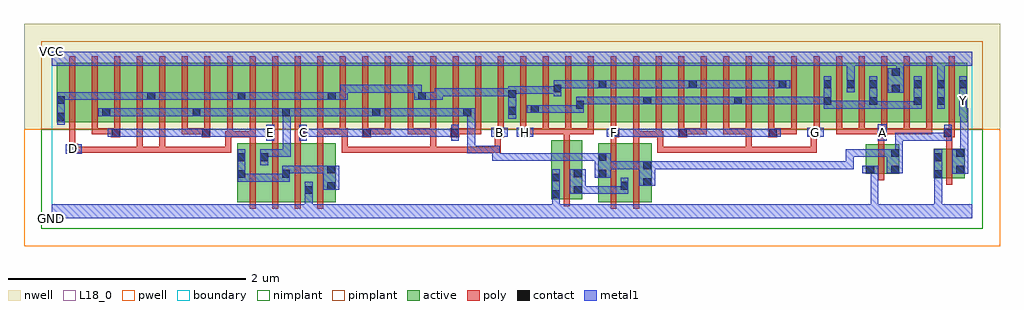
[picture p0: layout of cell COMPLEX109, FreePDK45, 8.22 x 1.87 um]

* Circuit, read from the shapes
.subckt COMPLEX109 A B C D E F G GND H VCC Y
M1 n1 D n2 VSUBS nfet w=0.5u l=0.05u
M2 n2 E n1 VSUBS nfet w=0.5u l=0.05u
M3 GND C n2 VSUBS nfet w=0.5u l=0.05u
M4 n2 B GND VSUBS nfet w=0.5u l=0.05u
M5 n3 H GND VSUBS nfet w=0.5u l=0.05u
M6 n3 F n1 VSUBS nfet w=0.5u l=0.05u
M7 n1 G n3 VSUBS nfet w=0.5u l=0.05u
M8 n1 A GND VSUBS nfet w=0.25u l=0.05u
M9 Y n1 GND VSUBS nfet w=0.25u l=0.05u
M10 n4 D n5 n6 pfet w=0.5u l=0.05u
M11 n1 E n4 n6 pfet w=0.5u l=0.05u
M12 n7 E n1 n6 pfet w=0.5u l=0.05u
M13 n5 D n7 n6 pfet w=0.5u l=0.05u
M14 n8 D n5 n6 pfet w=0.5u l=0.05u
M15 n1 E n8 n6 pfet w=0.5u l=0.05u
M16 n9 E n1 n6 pfet w=0.5u l=0.05u
M17 n5 D n9 n6 pfet w=0.5u l=0.05u
M18 n10 D n5 n6 pfet w=0.5u l=0.05u
M19 n1 E n10 n6 pfet w=0.5u l=0.05u
M20 n11 C n1 n6 pfet w=0.5u l=0.05u
M21 n5 B n11 n6 pfet w=0.5u l=0.05u
M22 n12 B n5 n6 pfet w=0.5u l=0.05u
M23 n1 C n12 n6 pfet w=0.5u l=0.05u
M24 n13 C n1 n6 pfet w=0.5u l=0.05u
M25 n5 B n13 n6 pfet w=0.5u l=0.05u
M26 n14 B n5 n6 pfet w=0.5u l=0.05u
M27 n1 C n14 n6 pfet w=0.5u l=0.05u
M28 n15 C n1 n6 pfet w=0.5u l=0.05u
M29 n5 B n15 n6 pfet w=0.5u l=0.05u
M30 n16 H n5 n6 pfet w=0.5u l=0.05u m=4
M31 n17 F n5 n6 pfet w=0.5u l=0.05u
M32 n16 G n17 n6 pfet w=0.5u l=0.05u
M33 n18 G n16 n6 pfet w=0.5u l=0.05u
M34 n5 F n18 n6 pfet w=0.5u l=0.05u
M35 n19 F n5 n6 pfet w=0.5u l=0.05u
M36 n16 G n19 n6 pfet w=0.5u l=0.05u
M37 n20 G n16 n6 pfet w=0.5u l=0.05u
M38 n5 F n20 n6 pfet w=0.5u l=0.05u
M39 n21 F n5 n6 pfet w=0.5u l=0.05u
M40 n16 G n21 n6 pfet w=0.5u l=0.05u
M41 VCC A n16 n6 pfet w=0.5u l=0.05u m=5
M42 Y n1 VCC n6 pfet w=0.5u l=0.05u
.ends

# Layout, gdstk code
import gdstk
lib = gdstk.Library(unit=1e-6, precision=1e-09)
def R(c, l, rs):  # rectangles x0, y0, x1, y1
    for r in rs: c.add(gdstk.rectangle(r[:2], r[2:], *l))
def A(c, l, x, y, w, h, nx, ny, dx, dy):  # array of equal rectangles
    R(c, l, [(x+i*dx, y+j*dy, x+i*dx+w, y+j*dy+h) for i in range(nx) for j in range(ny)])
active = (1, 0)
pwell = (2, 0)
nwell = (3, 0)
nimplant = (4, 0)
pimplant = (5, 0)
poly = (9, 0)
contact = (10, 0)
metal1 = (11, 0)
L18_0 = (18, 0)
boundary = (235, 0)

complex109 = lib.new_cell('COMPLEX109')
A(complex109, active, 0.04, 0.807, 0.225, 0.5, 5, 1, 0.38, 0)
A(complex109, active, 0.265, 0.807, 0.23, 0.5, 4, 1, 0.38, 0)
A(complex109, active, 0.8, 0.807, 0.075, 0.393, 5, 1, 0.76, 0)
A(complex109, active, 2.925, 0.807, 0.23, 0.5, 3, 1, 0.38, 0)
A(complex109, active, 3.84, 0.807, 0.265, 0.5, 4, 1, 0.19, 0)
A(complex109, active, 6.69, 0.807, 0.075, 0.5, 3, 1, 0.38, 0)
R(complex109, active, [(1.56,0.132,1.825,0.632), (1.75,0.132,2.01,0.632), (1.935,0.132,2.2,0.632), (2.125,0.132,2.39,0.632), (4.6,0.132,4.86,0.632), (4.785,0.132,5.05,0.632), (2.125,0.157,2.2,0.592), (4.207,0.157,4.467,0.657), (4.207,0.157,4.282,0.657), (1.56,0.195,1.635,0.632), (1.75,0.195,1.825,0.592), (1.935,0.195,2.01,0.592), (2.315,0.195,2.39,0.632), (4.392,0.195,4.467,0.657), (4.6,0.195,4.675,0.632), (4.785,0.195,4.86,0.592), (4.975,0.195,5.05,0.632), (7.427,0.335,7.687,0.585), (7.427,0.335,7.502,0.585), (7.612,0.37,7.687,0.585), (6.855,0.372,6.93,0.622), (6.855,0.372,7.137,0.622), (7.062,0.372,7.137,0.622), (0.04,0.807,0.145,1.2), (0.42,0.807,0.495,1.07), (1.18,0.807,1.255,1.07), (1.785,0.807,2.01,1.307), (1.935,0.807,2.165,1.307), (1.935,0.807,2.01,1.07), (2.165,0.807,2.395,1.307), (2.32,0.807,2.545,1.307), (2.545,0.807,2.77,1.307), (2.695,0.807,2.925,1.307), (2.695,0.807,2.77,1.07), (3.08,0.807,3.305,1.307), (3.46,0.807,3.685,1.307), (3.46,0.807,3.535,1.07), (4.03,0.807,4.105,1.07), (4.22,0.807,4.295,1.2), (4.41,0.807,4.485,1.07), (4.6,0.807,4.675,1.2), (4.6,0.807,4.825,1.307), (4.825,0.807,5.052,1.307), (4.977,0.807,5.052,1.07), (4.977,0.807,5.205,1.307), (5.205,0.807,5.435,1.307), (5.36,0.807,5.435,1.2), (5.36,0.807,5.585,1.307), (5.585,0.807,5.815,1.307), (5.74,0.807,5.965,1.307), (5.74,0.807,5.815,1.07), (5.965,0.807,6.19,1.307), (6.115,0.807,6.19,1.2), (6.115,0.807,6.345,1.307), (6.345,0.807,6.57,1.307), (6.495,0.807,6.57,1.2), (6.495,0.807,6.765,1.307), (6.69,0.807,6.955,1.307), (6.88,0.807,7.145,1.307), (6.88,0.807,6.955,1.2), (7.07,0.807,7.33,1.307), (7.255,0.807,7.33,1.2), (7.255,0.807,7.525,1.307), (7.45,0.807,7.71,1.307), (7.635,0.807,7.71,1.2)])
R(complex109, pwell, [(-0.235,-0.235,7.985,0.75)])
R(complex109, nwell, [(-0.235,0.75,7.985,1.635)])
R(complex109, nimplant, [(-0.09,-0.09,7.84,0.75)])
R(complex109, pimplant, [(-0.09,0.75,7.84,1.49)])
A(complex109, poly, 1.665, 0.077, 0.05, 0.61, 4, 1, 0.19, 0)
A(complex109, poly, 1.665, 0.637, 0.05, 0.095, 3, 1, 0.19, 0)
A(complex109, poly, 1.855, 0.707, 0.05, 0.095, 16, 1, 0.19, 0)
A(complex109, poly, 2.64, 0.707, 0.215, 0.05, 3, 1, 1.33, 0)
A(complex109, poly, 5.275, 0.707, 0.05, 0.095, 13, 1, 0.19, 0)
A(complex109, poly, 0.145, 0.752, 0.05, 0.61, 40, 1, 0.19, 0)
R(complex109, poly, [(4.705,0.077,4.755,0.687), (4.895,0.077,4.945,0.687), (4.312,0.102,4.362,0.712), (7.532,0.28,7.582,0.64), (6.96,0.317,7.01,0.677), (0.145,0.55,0.222,0.625), (0.172,0.55,0.222,0.6), (0.172,0.55,0.222,0.6), (0.172,0.55,0.222,0.6), (0.172,0.55,0.222,0.6), (0.172,0.55,0.355,0.6), (0.305,0.55,0.355,0.6), (0.305,0.55,0.355,0.6), (0.305,0.55,0.355,0.6), (0.305,0.55,0.517,0.6), (0.467,0.55,0.517,0.6), (0.467,0.55,0.517,0.6), (0.467,0.55,0.517,0.6), (0.467,0.55,0.765,0.6), (0.715,0.55,0.765,0.6), (0.715,0.55,0.765,0.6), (0.715,0.55,0.765,0.6), (0.715,0.55,0.765,0.6), (0.715,0.55,0.765,0.6), (0.715,0.55,0.765,0.6), (0.715,0.55,0.765,0.6), (0.715,0.55,0.955,0.6), (0.715,0.55,0.765,0.802), (0.905,0.55,0.955,0.6), (0.905,0.55,0.955,0.6), (0.905,0.55,0.955,0.6), (0.905,0.55,0.955,0.6), (0.905,0.55,0.955,0.6), (0.905,0.55,0.955,0.6), (0.905,0.55,0.955,0.6), (0.905,0.55,1.177,0.6), (0.905,0.55,0.955,0.802), (1.127,0.55,1.177,0.6), (1.127,0.55,1.177,0.6), (1.127,0.55,1.177,0.6), (1.127,0.55,1.377,0.6), (1.327,0.55,1.377,0.6), (1.327,0.55,1.377,0.6), (1.327,0.55,1.377,0.6), (1.327,0.55,1.51,0.6), (1.46,0.55,1.51,0.6), (1.46,0.55,1.51,0.6), (1.46,0.55,1.51,0.6), (1.46,0.55,1.51,0.6), (1.46,0.55,1.51,0.6), (1.46,0.55,1.51,0.732), (2.44,0.55,2.49,0.6), (2.44,0.55,2.49,0.6), (2.44,0.55,2.49,0.6), (2.44,0.55,2.49,0.757), (2.44,0.55,2.722,0.6), (2.672,0.55,2.722,0.6), (2.672,0.55,2.855,0.6), (2.805,0.55,2.855,0.6), (2.805,0.55,2.855,0.6), (2.805,0.55,2.855,0.6), (2.805,0.55,2.987,0.6), (2.937,0.55,2.987,0.6), (2.937,0.55,2.987,0.6), (2.937,0.55,2.987,0.6), (2.937,0.55,3.167,0.6), (3.117,0.55,3.167,0.6), (3.117,0.55,3.235,0.6), (3.185,0.55,3.235,0.6), (3.185,0.55,3.235,0.757), (3.185,0.55,3.3,0.6), (3.25,0.55,3.3,0.6), (3.25,0.55,3.482,0.6), (3.432,0.55,3.482,0.6), (3.432,0.55,3.482,0.6), (3.432,0.55,3.482,0.6), (3.432,0.55,3.615,0.6), (3.565,0.55,3.615,0.6), (3.565,0.55,3.78,0.6), (3.73,0.55,3.78,0.6), (3.73,0.55,3.78,0.6), (3.73,0.55,3.78,0.6), (3.73,0.55,3.78,0.6), (3.73,0.55,3.78,0.6), (3.73,0.55,3.78,0.732), (5.1,0.55,5.15,0.6), (5.1,0.55,5.15,0.6), (5.1,0.55,5.15,0.6), (5.1,0.55,5.15,0.732), (5.1,0.55,5.382,0.6), (5.332,0.55,5.382,0.6), (5.332,0.55,5.382,0.6), (5.332,0.55,5.382,0.6), (5.332,0.55,5.572,0.6), (5.522,0.55,5.572,0.6), (5.522,0.55,5.572,0.6), (5.522,0.55,5.572,0.6), (5.522,0.55,5.762,0.6), (5.712,0.55,5.762,0.6), (5.712,0.55,5.895,0.6), (5.845,0.55,5.895,0.6), (5.845,0.55,5.895,0.6), (5.845,0.55,5.895,0.6), (5.845,0.55,6.142,0.6), (5.845,0.55,5.895,0.757), (6.092,0.55,6.142,0.6), (6.092,0.55,6.142,0.6), (6.092,0.55,6.142,0.6), (6.092,0.55,6.275,0.6), (6.225,0.55,6.275,0.6), (6.225,0.55,6.275,0.6), (6.225,0.55,6.275,0.6), (6.225,0.55,6.44,0.6), (6.39,0.55,6.44,0.6), (6.39,0.55,6.44,0.6), (6.39,0.55,6.44,0.6), (6.39,0.55,6.44,0.6), (6.39,0.55,6.44,0.6), (6.39,0.55,6.44,0.732), (0.145,0.575,0.195,0.802), (7.532,0.59,7.582,0.732), (6.96,0.627,7.01,0.732), (2.235,0.637,2.285,0.757), (4.705,0.637,4.755,0.732), (4.895,0.637,4.945,0.732), (4.312,0.662,4.362,0.757), (0.5,0.682,0.575,0.757), (1.26,0.682,1.335,0.757), (1.46,0.682,1.525,0.732), (1.475,0.682,1.715,0.732), (1.475,0.682,1.525,0.802), (1.665,0.682,1.715,0.732), (1.665,0.682,1.715,0.732), (1.665,0.682,1.715,0.732), (1.665,0.682,1.715,0.802), (1.802,0.682,1.905,0.757), (2.045,0.682,2.152,0.757), (2.615,0.682,2.69,0.757), (3.357,0.682,3.432,0.757), (3.73,0.682,3.805,0.757), (3.945,0.682,4.02,0.757), (4.702,0.682,4.777,0.757), (4.895,0.682,4.945,0.732), (4.895,0.682,4.945,0.732), (4.895,0.682,4.945,0.732), (4.895,0.682,5.135,0.732), (4.895,0.682,4.945,0.802), (5.085,0.682,5.135,0.732), (5.085,0.682,5.135,0.732), (5.085,0.682,5.135,0.802), (5.085,0.682,5.15,0.732), (5.275,0.682,5.35,0.757), (6.035,0.682,6.11,0.757), (6.39,0.682,6.465,0.757), (6.96,0.682,7.035,0.757), (7.51,0.682,7.605,0.757), (0.335,0.707,0.385,0.802), (0.335,0.707,0.385,0.757), (0.335,0.707,0.55,0.757), (0.5,0.707,0.55,0.757), (0.5,0.707,0.55,0.757), (0.525,0.707,0.575,0.802), (1.095,0.707,1.145,0.802), (1.095,0.707,1.145,0.757), (1.095,0.707,1.31,0.757), (1.26,0.707,1.31,0.757), (1.26,0.707,1.31,0.757), (1.285,0.707,1.335,0.802), (2.235,0.707,2.285,0.757), (2.235,0.707,2.285,0.757), (2.235,0.707,2.285,0.757), (2.235,0.707,2.475,0.757), (2.425,0.707,2.475,0.757), (2.425,0.707,2.475,0.757), (2.425,0.707,2.49,0.757), (2.805,0.707,2.855,0.757), (2.805,0.707,2.855,0.757), (2.805,0.707,2.855,0.757), (2.995,0.707,3.045,0.757), (2.995,0.707,3.167,0.757), (3.117,0.707,3.167,0.757), (3.117,0.707,3.235,0.757), (3.185,0.707,3.235,0.757), (3.185,0.707,3.235,0.757), (3.185,0.707,3.235,0.757), (3.382,0.707,3.432,0.757), (3.382,0.707,3.432,0.757), (3.382,0.707,3.615,0.757), (3.565,0.707,3.615,0.757), (3.97,0.707,4.02,0.757), (3.97,0.707,4.02,0.757), (4.135,0.707,4.185,0.757), (4.135,0.707,4.185,0.757), (4.135,0.707,4.185,0.757), (4.135,0.707,4.362,0.757), (4.312,0.707,4.375,0.757), (4.325,0.707,4.565,0.757), (4.515,0.707,4.565,0.757), (4.515,0.707,4.565,0.757), (4.515,0.707,4.565,0.757), (5.3,0.707,5.35,0.757), (5.3,0.707,5.35,0.757), (5.465,0.707,5.515,0.757), (5.655,0.707,5.705,0.757), (5.655,0.707,5.705,0.757), (5.655,0.707,5.705,0.757), (5.655,0.707,5.895,0.757), (5.845,0.707,5.895,0.757), (5.845,0.707,5.895,0.757), (5.845,0.707,5.895,0.757), (6.06,0.707,6.275,0.757), (6.225,0.707,6.275,0.757), (6.225,0.707,6.275,0.757), (6.225,0.707,6.275,0.757), (6.605,0.707,6.655,0.757), (6.605,0.707,6.655,0.757), (6.605,0.707,6.655,0.757), (6.605,0.707,6.845,0.757), (6.795,0.707,6.845,0.757), (6.795,0.707,6.845,0.757), (6.795,0.707,6.845,0.757), (6.795,0.707,7.01,0.757), (6.985,0.707,7.225,0.757), (7.175,0.707,7.225,0.757), (7.175,0.707,7.225,0.757), (7.175,0.707,7.225,0.757), (7.175,0.707,7.415,0.757), (7.365,0.707,7.415,0.757), (7.365,0.707,7.415,0.757), (7.365,0.707,7.415,0.757)])
A(complex109, contact, 0.805, 0.997, 0.065, 0.065, 4, 1, 0.76, 0)
R(complex109, contact, [(4.212,0.17,4.277,0.235), (2.13,0.205,2.195,0.27), (4.397,0.205,4.462,0.27), (2.32,0.237,2.385,0.302), (4.79,0.24,4.855,0.305), (4.98,0.272,5.045,0.337), (4.212,0.31,4.277,0.375), (1.565,0.34,1.63,0.405), (7.432,0.34,7.497,0.405), (1.94,0.342,2.005,0.407), (4.605,0.342,4.67,0.407), (4.397,0.345,4.462,0.41), (7.617,0.375,7.682,0.44), (2.32,0.377,2.385,0.442), (6.86,0.377,6.925,0.442), (7.067,0.377,7.132,0.442), (4.98,0.412,5.045,0.477), (1.565,0.48,1.63,0.545), (1.755,0.48,1.82,0.545), (7.432,0.48,7.497,0.545), (4.605,0.482,4.67,0.547), (7.617,0.515,7.682,0.58), (7.067,0.517,7.132,0.582), (0.152,0.555,0.217,0.62), (0.505,0.687,0.57,0.752), (1.265,0.687,1.33,0.752), (1.807,0.687,1.872,0.752), (2.082,0.687,2.147,0.752), (2.62,0.687,2.685,0.752), (3.362,0.687,3.427,0.752), (3.735,0.687,3.8,0.752), (3.95,0.687,4.015,0.752), (4.707,0.687,4.772,0.752), (5.28,0.687,5.345,0.752), (6.04,0.687,6.105,0.752), (6.395,0.687,6.46,0.752), (6.965,0.687,7.03,0.752), (7.515,0.687,7.58,0.752), (0.045,0.822,0.11,0.887), (0.425,0.86,0.49,0.925), (1.185,0.86,1.25,0.925), (1.94,0.86,2.005,0.925), (2.7,0.86,2.765,0.925), (3.465,0.86,3.53,0.925), (3.845,0.872,3.91,0.937), (4.035,0.887,4.1,0.952), (4.415,0.922,4.48,0.987), (6.5,0.955,6.565,1.02), (6.885,0.955,6.95,1.02), (7.26,0.955,7.325,1.02), (7.455,0.955,7.52,1.02), (7.64,0.955,7.705,1.02), (4.982,0.957,5.047,1.022), (5.745,0.957,5.81,1.022), (0.045,0.962,0.11,1.027), (3.845,1.012,3.91,1.077), (7.075,1.057,7.14,1.122), (4.225,1.06,4.29,1.125), (4.605,1.095,4.67,1.16), (5.365,1.095,5.43,1.16), (6.12,1.095,6.185,1.16), (6.5,1.095,6.565,1.16), (6.695,1.095,6.76,1.16), (6.885,1.095,6.95,1.16), (7.26,1.095,7.325,1.16), (7.455,1.095,7.52,1.16), (7.64,1.095,7.705,1.16), (7.075,1.197,7.14,1.262)])
A(complex109, metal1, 0.77, 0.997, 0.135, 0.065, 4, 1, 0.76, 0)
R(complex109, metal1, [(0,0,7.75,0.115), (2.13,0.05,2.195,0.115), (2.13,0.05,2.195,0.115), (2.13,0.05,2.195,0.235), (4.212,0.05,4.277,0.2), (6.895,0.05,6.96,0.115), (6.895,0.05,6.96,0.115), (6.895,0.05,6.96,0.115), (6.895,0.05,6.96,0.115), (6.895,0.05,6.96,0.442), (7.432,0.05,7.497,0.115), (7.432,0.05,7.497,0.115), (7.432,0.05,7.497,0.115), (7.432,0.05,7.497,0.115), (7.432,0.05,7.497,0.115), (7.432,0.05,7.497,0.115), (7.432,0.05,7.497,0.37), (4.212,0.135,4.277,0.2), (4.212,0.135,4.277,0.2), (4.212,0.135,4.277,0.41), (2.13,0.17,2.195,0.305), (4.362,0.205,4.497,0.41), (4.432,0.205,4.497,0.27), (4.432,0.205,4.497,0.27), (4.432,0.205,4.675,0.27), (4.61,0.205,4.675,0.27), (4.61,0.205,4.675,0.27), (4.61,0.205,4.675,0.27), (4.61,0.205,4.855,0.27), (4.79,0.205,4.855,0.34), (2.285,0.237,2.42,0.442), (4.945,0.272,5.08,0.477), (1.565,0.305,1.63,0.58), (7.432,0.305,7.497,0.58), (1.565,0.307,1.67,0.372), (1.605,0.307,1.67,0.372), (1.605,0.307,1.802,0.372), (1.737,0.307,1.802,0.372), (1.737,0.307,2.005,0.372), (1.94,0.307,2.005,0.372), (1.94,0.307,2.005,0.372), (1.94,0.307,2.005,0.442), (4.57,0.342,4.705,0.547), (7.582,0.375,7.717,0.58), (1.94,0.377,2.15,0.442), (2.085,0.377,2.15,0.442), (2.085,0.377,2.15,0.442), (2.085,0.377,2.15,0.442), (2.085,0.377,2.287,0.442), (2.222,0.377,2.287,0.442), (2.222,0.377,2.35,0.442), (6.825,0.377,6.96,0.442), (6.895,0.377,6.96,0.442), (6.895,0.377,6.96,0.442), (7.032,0.377,7.167,0.582), (4.64,0.412,4.705,0.477), (4.64,0.412,4.705,0.477), (4.64,0.412,4.842,0.477), (4.777,0.412,4.842,0.477), (4.777,0.412,4.98,0.477), (4.915,0.412,4.98,0.477), (4.915,0.412,5.01,0.477), (5.015,0.412,5.117,0.477), (5.052,0.412,5.117,0.477), (5.052,0.412,5.257,0.477), (5.192,0.412,5.257,0.477), (5.192,0.412,5.257,0.477), (5.192,0.412,5.465,0.477), (5.4,0.412,5.465,0.477), (5.4,0.412,5.465,0.477), (5.4,0.412,5.602,0.477), (5.537,0.412,5.602,0.477), (5.537,0.412,5.602,0.477), (5.537,0.412,5.602,0.477), (5.537,0.412,5.74,0.477), (5.675,0.412,5.74,0.477), (5.675,0.412,5.74,0.477), (5.675,0.412,5.74,0.477), (5.675,0.412,5.912,0.477), (5.847,0.412,5.912,0.477), (5.847,0.412,6.012,0.477), (5.947,0.412,6.012,0.477), (5.947,0.412,6.15,0.477), (6.085,0.412,6.15,0.477), (6.085,0.412,6.15,0.477), (6.085,0.412,6.15,0.477), (6.085,0.412,6.287,0.477), (6.222,0.412,6.287,0.477), (6.222,0.412,6.287,0.477), (6.222,0.412,6.287,0.477), (6.222,0.412,6.425,0.477), (6.36,0.412,6.425,0.477), (6.36,0.412,6.562,0.477), (6.497,0.412,6.562,0.477), (6.497,0.412,6.562,0.477), (6.497,0.412,6.562,0.477), (6.497,0.412,6.752,0.477), (6.687,0.412,6.752,0.477), (6.687,0.412,6.752,0.58), (1.755,0.445,1.82,0.58), (3.707,0.482,3.772,0.547), (3.707,0.482,3.772,0.547), (3.707,0.482,3.772,0.547), (3.707,0.482,3.91,0.547), (3.707,0.482,3.772,0.61), (3.845,0.482,3.91,0.547), (3.845,0.482,3.91,0.547), (3.845,0.482,3.91,0.547), (3.845,0.482,4.135,0.547), (4.07,0.482,4.135,0.547), (4.07,0.482,4.135,0.547), (4.07,0.482,4.135,0.547), (4.07,0.482,4.272,0.547), (4.207,0.482,4.272,0.547), (4.207,0.482,4.272,0.547), (4.207,0.482,4.272,0.547), (4.207,0.482,4.427,0.547), (4.362,0.482,4.427,0.547), (4.362,0.482,4.497,0.547), (4.432,0.482,4.497,0.547), (4.432,0.482,4.635,0.547), (1.755,0.515,1.82,0.58), (1.755,0.515,1.82,0.58), (1.755,0.515,2.01,0.58), (1.945,0.515,2.01,0.58), (1.945,0.515,2.01,0.58), (1.945,0.515,2.01,0.58), (1.945,0.515,2.01,0.925), (6.687,0.515,6.752,0.58), (6.687,0.515,6.752,0.58), (6.687,0.515,6.752,0.58), (6.687,0.515,6.96,0.58), (6.895,0.515,6.96,0.58), (6.895,0.515,6.96,0.58), (6.895,0.515,6.96,0.58), (6.895,0.515,7.097,0.58), (7.652,0.515,7.717,0.58), (7.652,0.515,7.717,0.925), (7.102,0.517,7.167,0.717), (0.117,0.542,0.252,0.62), (3.5,0.545,3.772,0.61), (3.5,0.545,3.565,0.612), (3.707,0.545,3.772,0.61), (3.5,0.547,3.565,0.612), (3.5,0.547,3.565,0.612), (3.5,0.547,3.565,0.612), (3.5,0.547,3.565,0.612), (3.5,0.547,3.565,0.925), (1.807,0.652,1.872,0.787), (2.082,0.652,2.147,0.787), (3.362,0.652,3.427,0.787), (6.955,0.652,7.03,0.792), (7.102,0.652,7.167,0.717), (7.102,0.652,7.305,0.717), (7.24,0.652,7.305,0.717), (7.24,0.652,7.305,0.717), (7.24,0.652,7.305,0.717), (7.24,0.652,7.442,0.717), (7.377,0.652,7.442,0.717), (7.377,0.652,7.442,0.717), (7.377,0.652,7.442,0.717), (7.377,0.652,7.58,0.717), (7.515,0.652,7.58,0.787), (3.915,0.685,4.055,0.76), (6.36,0.685,6.5,0.76), (0.47,0.687,0.605,0.752), (0.54,0.687,0.662,0.752), (0.597,0.687,0.662,0.752), (0.597,0.687,0.835,0.752), (0.77,0.687,0.835,0.752), (0.77,0.687,0.835,0.752), (0.77,0.687,0.835,0.752), (0.77,0.687,0.972,0.752), (0.907,0.687,0.972,0.752), (0.907,0.687,1.077,0.752), (1.012,0.687,1.077,0.752), (1.012,0.687,1.11,0.752), (1.045,0.687,1.11,0.752), (1.045,0.687,1.295,0.752), (1.23,0.687,1.295,0.752), (1.23,0.687,1.295,0.752), (1.23,0.687,1.365,0.752), (1.3,0.687,1.432,0.752), (1.367,0.687,1.432,0.752), (1.367,0.687,1.502,0.752), (1.437,0.687,1.502,0.752), (1.437,0.687,1.57,0.752), (1.505,0.687,1.57,0.752), (1.505,0.687,1.67,0.752), (1.605,0.687,1.67,0.752), (1.605,0.687,1.82,0.752), (1.755,0.687,1.82,0.752), (1.755,0.687,1.872,0.752), (2.082,0.687,2.147,0.752), (2.082,0.687,2.147,0.752), (2.082,0.687,2.315,0.752), (2.25,0.687,2.315,0.752), (2.25,0.687,2.315,0.752), (2.25,0.687,2.315,0.752), (2.25,0.687,2.492,0.752), (2.427,0.687,2.492,0.752), (2.427,0.687,2.562,0.752), (2.497,0.687,2.562,0.752), (2.497,0.687,2.65,0.752), (2.585,0.687,2.72,0.752), (2.655,0.687,2.72,0.752), (2.655,0.687,2.72,0.752), (2.655,0.687,2.977,0.752), (2.912,0.687,2.977,0.752), (2.912,0.687,2.977,0.752), (2.912,0.687,2.977,0.752), (2.912,0.687,3.152,0.752), (3.087,0.687,3.152,0.752), (3.087,0.687,3.152,0.752), (3.087,0.687,3.152,0.752), (3.087,0.687,3.29,0.752), (3.225,0.687,3.29,0.752), (3.225,0.687,3.357,0.752), (3.292,0.687,3.357,0.752), (3.292,0.687,3.427,0.752), (3.7,0.687,3.84,0.762), (4.672,0.687,4.807,0.752), (4.742,0.687,4.842,0.752), (4.777,0.687,4.842,0.752), (4.777,0.687,4.98,0.752), (4.915,0.687,4.98,0.752), (4.915,0.687,5.117,0.752), (5.052,0.687,5.117,0.752), (5.052,0.687,5.117,0.752), (5.052,0.687,5.117,0.752), (5.052,0.687,5.257,0.752), (5.192,0.687,5.257,0.752), (5.192,0.687,5.31,0.752), (5.245,0.687,5.38,0.752), (5.315,0.687,5.465,0.752), (5.4,0.687,5.465,0.752), (5.4,0.687,5.602,0.752), (5.537,0.687,5.602,0.752), (5.537,0.687,5.602,0.752), (5.537,0.687,5.602,0.752), (5.537,0.687,5.74,0.752), (5.675,0.687,5.74,0.752), (5.675,0.687,5.74,0.752), (5.675,0.687,5.74,0.752), (5.675,0.687,5.932,0.752), (5.867,0.687,5.932,0.752), (5.867,0.687,6.012,0.752), (5.947,0.687,6.012,0.752), (5.947,0.687,6.07,0.752), (6.005,0.687,6.14,0.752), (0.045,0.787,0.11,1.062), (3.845,0.837,3.91,1.112), (0.39,0.86,0.525,0.925), (0.46,0.86,0.697,0.925), (0.632,0.86,0.697,0.925), (0.632,0.86,0.697,0.925), (0.632,0.86,0.697,0.925), (0.632,0.86,0.835,0.925), (0.77,0.86,0.835,0.925), (0.77,0.86,0.835,0.925), (0.77,0.86,0.835,0.925), (0.77,0.86,0.972,0.925), (0.907,0.86,0.972,0.925), (0.907,0.86,1.045,0.925), (0.98,0.86,1.045,0.925), (0.98,0.86,1.11,0.925), (1.045,0.86,1.11,0.925), (1.045,0.86,1.215,0.925), (1.15,0.86,1.285,0.925), (1.22,0.86,1.285,0.925), (1.22,0.86,1.285,0.925), (1.22,0.86,1.432,0.925), (1.367,0.86,1.432,0.925), (1.367,0.86,1.502,0.925), (1.437,0.86,1.502,0.925), (1.437,0.86,1.57,0.925), (1.505,0.86,1.57,0.925), (1.505,0.86,1.67,0.925), (1.605,0.86,1.67,0.925), (1.605,0.86,1.832,0.925), (1.767,0.86,1.832,0.925), (1.767,0.86,1.832,0.925), (1.767,0.86,1.832,0.925), (1.767,0.86,1.97,0.925), (1.905,0.86,2.04,0.925), (1.945,0.86,2.01,0.925), (1.945,0.86,2.01,0.925), (1.945,0.86,2.142,0.925), (2.077,0.86,2.142,0.925), (2.077,0.86,2.177,0.925), (2.112,0.86,2.177,0.925), (2.112,0.86,2.287,0.925), (2.222,0.86,2.287,0.925), (2.222,0.86,2.425,0.925), (2.36,0.86,2.425,0.925), (2.36,0.86,2.492,0.925), (2.427,0.86,2.492,0.925), (2.427,0.86,2.562,0.925), (2.497,0.86,2.562,0.925), (2.497,0.86,2.73,0.925), (2.665,0.86,2.73,0.925), (2.665,0.86,2.73,0.925), (2.665,0.86,2.8,0.925), (2.735,0.86,2.977,0.925), (2.912,0.86,2.977,0.925), (2.912,0.86,2.977,0.925), (2.912,0.86,2.977,0.925), (2.912,0.86,3.115,0.925), (3.05,0.86,3.115,0.925), (3.05,0.86,3.115,0.925), (3.05,0.86,3.115,0.925), (3.05,0.86,3.29,0.925), (3.225,0.86,3.29,0.925), (3.225,0.86,3.355,0.925), (3.29,0.86,3.355,0.925), (3.29,0.86,3.427,0.925), (3.362,0.86,3.427,0.925), (3.362,0.86,3.495,0.925), (3.43,0.86,3.565,0.925), (7.642,0.86,7.707,0.985), (7.642,0.86,7.707,0.925), (7.642,0.86,7.707,0.925), (7.642,0.86,7.717,0.925), (7.652,0.86,7.717,0.925), (4,0.887,4.135,0.952), (4.07,0.887,4.135,0.952), (4.07,0.887,4.135,0.952), (4.07,0.887,4.272,0.952), (4.207,0.887,4.272,0.952), (4.207,0.887,4.272,0.952), (4.207,0.887,4.272,0.952), (4.207,0.887,4.48,0.952), (4.415,0.887,4.48,1.022), (6.5,0.92,6.565,1.195), (6.885,0.92,6.95,0.985), (6.885,0.92,6.95,0.985), (6.885,0.92,6.95,1.195), (6.885,0.92,7.167,0.985), (7.102,0.92,7.167,0.985), (7.102,0.92,7.167,0.985), (7.102,0.92,7.167,0.985), (7.102,0.92,7.325,0.985), (7.26,0.92,7.325,1.195), (7.455,0.92,7.52,1.195), (7.64,0.92,7.707,1.195), (6.5,0.922,6.565,0.987), (6.5,0.922,6.565,0.987), (6.5,0.922,6.702,0.987), (6.637,0.922,6.702,0.987), (6.637,0.922,6.702,0.987), (6.637,0.922,6.702,0.987), (6.637,0.922,6.95,0.987), (4.415,0.957,4.48,1.022), (4.415,0.957,4.48,1.022), (4.415,0.957,4.705,1.022), (4.64,0.957,4.705,1.022), (4.64,0.957,4.705,1.022), (4.64,0.957,4.705,1.022), (4.64,0.957,4.842,1.022), (4.777,0.957,4.842,1.022), (4.777,0.957,4.98,1.022), (4.915,0.957,4.98,1.022), (4.915,0.957,5.012,1.022), (4.947,0.957,5.082,1.022), (5.017,0.957,5.117,1.022), (5.052,0.957,5.117,1.022), (5.052,0.957,5.255,1.022), (5.19,0.957,5.255,1.022), (5.19,0.957,5.255,1.022), (5.19,0.957,5.255,1.022), (5.19,0.957,5.465,1.022), (5.4,0.957,5.465,1.022), (5.4,0.957,5.602,1.022), (5.537,0.957,5.602,1.022), (5.537,0.957,5.602,1.022), (5.537,0.957,5.602,1.022), (5.537,0.957,5.775,1.022), (5.71,0.957,5.775,1.022), (5.71,0.957,5.775,1.022), (5.71,0.957,5.845,1.022), (5.78,0.957,5.912,1.022), (5.847,0.957,5.912,1.022), (5.847,0.957,6.012,1.022), (5.947,0.957,6.012,1.022), (5.947,0.957,6.15,1.022), (6.085,0.957,6.15,1.022), (6.085,0.957,6.15,1.022), (6.085,0.957,6.15,1.022), (6.085,0.957,6.287,1.022), (6.222,0.957,6.287,1.022), (6.222,0.957,6.287,1.022), (6.222,0.957,6.287,1.022), (6.222,0.957,6.425,1.022), (6.36,0.957,6.425,1.022), (6.36,0.957,6.565,1.022), (0.045,0.997,0.247,1.062), (0.182,0.997,0.247,1.062), (0.182,0.997,0.247,1.062), (0.182,0.997,0.247,1.062), (0.182,0.997,0.39,1.062), (0.325,0.997,0.39,1.062), (0.325,0.997,0.39,1.062), (0.325,0.997,0.39,1.062), (0.325,0.997,0.662,1.062), (0.597,0.997,0.662,1.062), (0.597,0.997,0.662,1.062), (0.597,0.997,0.662,1.062), (0.597,0.997,0.835,1.062), (0.77,0.997,0.835,1.062), (0.77,0.997,0.835,1.062), (0.84,0.997,0.972,1.062), (0.907,0.997,0.972,1.062), (0.907,0.997,1.077,1.062), (1.012,0.997,1.077,1.062), (1.012,0.997,1.11,1.062), (1.045,0.997,1.11,1.062), (1.045,0.997,1.215,1.062), (1.15,0.997,1.215,1.062), (1.15,0.997,1.365,1.062), (1.3,0.997,1.365,1.062), (1.3,0.997,1.432,1.062), (1.367,0.997,1.432,1.062), (1.367,0.997,1.532,1.062), (1.467,0.997,1.532,1.062), (1.467,0.997,1.595,1.062), (1.6,0.997,1.67,1.062), (1.605,0.997,1.67,1.062), (1.605,0.997,1.807,1.062), (1.742,0.997,1.807,1.062), (1.742,0.997,1.807,1.062), (1.742,0.997,1.807,1.062), (1.742,0.997,1.97,1.062), (1.905,0.997,1.97,1.062), (1.905,0.997,2.15,1.062), (2.085,0.997,2.15,1.062), (2.085,0.997,2.15,1.062), (2.085,0.997,2.15,1.062), (2.085,0.997,2.355,1.062), (2.29,0.997,2.355,1.062), (2.29,0.997,2.355,1.062), (2.36,0.997,2.492,1.062), (2.427,0.997,2.492,1.122), (3.05,0.997,3.115,1.122), (3.05,0.997,3.115,1.062), (3.12,0.997,3.29,1.062), (3.225,0.997,3.29,1.092), (4.225,1.025,4.29,1.16), (3.225,1.027,3.357,1.092), (3.292,1.027,3.357,1.092), (3.292,1.027,3.427,1.092), (3.362,1.027,3.427,1.092), (3.362,1.027,3.627,1.092), (3.562,1.027,3.627,1.092), (3.562,1.027,3.627,1.092), (3.562,1.027,3.627,1.092), (3.562,1.027,3.772,1.092), (3.707,1.027,3.772,1.092), (3.707,1.027,3.772,1.092), (3.707,1.027,3.772,1.092), (3.707,1.027,3.91,1.092), (3.845,1.047,3.91,1.112), (3.845,1.047,3.91,1.112), (3.845,1.047,4.135,1.112), (4.07,1.047,4.135,1.112), (4.07,1.047,4.135,1.112), (4.07,1.047,4.135,1.112), (4.07,1.047,4.29,1.112), (2.427,1.057,2.562,1.122), (2.497,1.057,2.562,1.122), (2.497,1.057,2.7,1.122), (2.635,1.057,2.7,1.122), (2.635,1.057,2.7,1.122), (2.635,1.057,2.7,1.122), (2.635,1.057,2.937,1.122), (2.872,1.057,2.937,1.122), (2.872,1.057,2.937,1.122), (2.872,1.057,2.937,1.122), (2.872,1.057,3.115,1.122), (7.04,1.057,7.175,1.262), (6.695,1.06,6.76,1.195), (4.225,1.095,4.302,1.16), (4.237,1.095,4.302,1.16), (4.237,1.095,4.497,1.16), (4.432,1.095,4.497,1.16), (4.432,1.095,4.497,1.16), (4.432,1.095,4.497,1.16), (4.432,1.095,4.635,1.16), (4.57,1.095,4.705,1.16), (4.64,1.095,4.842,1.16), (4.777,1.095,4.842,1.16), (4.777,1.095,4.842,1.16), (4.777,1.095,4.842,1.16), (4.777,1.095,4.98,1.16), (4.915,1.095,4.98,1.16), (4.915,1.095,4.98,1.16), (4.915,1.095,4.98,1.16), (4.915,1.095,5.117,1.16), (5.052,1.095,5.117,1.16), (5.052,1.095,5.257,1.16), (5.192,1.095,5.257,1.16), (5.192,1.095,5.395,1.16), (5.33,1.095,5.395,1.16), (5.33,1.095,5.395,1.16), (5.33,1.095,5.465,1.16), (5.4,1.095,5.602,1.16), (5.537,1.095,5.602,1.16), (5.537,1.095,5.602,1.16), (5.537,1.095,5.602,1.16), (5.537,1.095,5.74,1.16), (5.675,1.095,5.74,1.16), (5.675,1.095,5.875,1.16), (5.81,1.095,5.875,1.16), (5.81,1.095,5.912,1.16), (5.847,1.095,5.912,1.16), (5.847,1.095,6.012,1.16), (5.947,1.095,6.012,1.16), (5.947,1.095,6.15,1.16), (6.085,1.095,6.15,1.16), (6.085,1.095,6.15,1.16), (6.085,1.095,6.22,1.16), (6.695,1.13,6.76,1.35), (7.455,1.13,7.52,1.35), (7.11,1.197,7.175,1.35), (0,1.285,7.75,1.4)])
R(complex109, L18_0, [(0,0,7.75,0.115), (2.13,0.05,2.195,0.115), (2.13,0.05,2.195,0.115), (2.13,0.05,2.195,0.235), (4.212,0.05,4.277,0.2), (6.895,0.05,6.96,0.115), (6.895,0.05,6.96,0.115), (6.895,0.05,6.96,0.115), (6.895,0.05,6.96,0.115), (6.895,0.05,6.96,0.442), (7.432,0.05,7.497,0.115), (7.432,0.05,7.497,0.115), (7.432,0.05,7.497,0.115), (7.432,0.05,7.497,0.115), (7.432,0.05,7.497,0.115), (7.432,0.05,7.497,0.115), (7.432,0.05,7.497,0.37), (4.212,0.135,4.277,0.2), (4.212,0.135,4.277,0.2), (4.212,0.135,4.277,0.41), (2.13,0.17,2.195,0.305), (7.432,0.305,7.497,0.58), (7.582,0.375,7.717,0.58), (6.825,0.377,6.96,0.442), (6.895,0.377,6.96,0.442), (6.895,0.377,6.96,0.442), (7.652,0.515,7.717,0.58), (7.652,0.515,7.717,0.925), (0.117,0.542,0.252,0.62), (0.152,0.552,0.217,0.617), (1.807,0.652,1.872,0.787), (2.082,0.652,2.147,0.787), (3.362,0.652,3.427,0.787), (6.955,0.652,7.03,0.792), (3.915,0.685,4.055,0.76), (6.36,0.685,6.5,0.76), (0.47,0.687,0.605,0.752), (0.54,0.687,0.662,0.752), (0.597,0.687,0.662,0.752), (0.597,0.687,0.835,0.752), (0.77,0.687,0.835,0.752), (0.77,0.687,0.835,0.752), (0.77,0.687,0.835,0.752), (0.77,0.687,0.972,0.752), (0.907,0.687,0.972,0.752), (0.907,0.687,1.077,0.752), (1.012,0.687,1.077,0.752), (1.012,0.687,1.11,0.752), (1.045,0.687,1.11,0.752), (1.045,0.687,1.295,0.752), (1.23,0.687,1.365,0.752), (1.23,0.687,1.295,0.752), (1.23,0.687,1.295,0.752), (1.3,0.687,1.432,0.752), (1.367,0.687,1.502,0.752), (1.367,0.687,1.432,0.752), (1.437,0.687,1.502,0.752), (1.437,0.687,1.57,0.752), (1.505,0.687,1.57,0.752), (1.505,0.687,1.67,0.752), (1.605,0.687,1.67,0.752), (1.605,0.687,1.82,0.752), (1.755,0.687,1.82,0.752), (1.755,0.687,1.872,0.752), (1.807,0.687,1.872,0.752), (2.082,0.687,2.147,0.752), (2.082,0.687,2.147,0.752), (2.082,0.687,2.147,0.752), (2.082,0.687,2.315,0.752), (2.25,0.687,2.315,0.752), (2.25,0.687,2.315,0.752), (2.25,0.687,2.315,0.752), (2.25,0.687,2.492,0.752), (2.427,0.687,2.562,0.752), (2.427,0.687,2.492,0.752), (2.497,0.687,2.562,0.752), (2.497,0.687,2.65,0.752), (2.585,0.687,2.72,0.752), (2.655,0.687,2.72,0.752), (2.655,0.687,2.72,0.752), (2.655,0.687,2.977,0.752), (2.912,0.687,2.977,0.752), (2.912,0.687,2.977,0.752), (2.912,0.687,2.977,0.752), (2.912,0.687,3.152,0.752), (3.087,0.687,3.152,0.752), (3.087,0.687,3.152,0.752), (3.087,0.687,3.152,0.752), (3.087,0.687,3.29,0.752), (3.225,0.687,3.29,0.752), (3.225,0.687,3.357,0.752), (3.292,0.687,3.427,0.752), (3.292,0.687,3.357,0.752), (3.7,0.687,3.84,0.762), (3.737,0.687,3.802,0.752), (4.672,0.687,4.807,0.752), (4.707,0.687,4.772,0.752), (4.742,0.687,4.842,0.752), (4.777,0.687,4.842,0.752), (4.777,0.687,4.98,0.752), (4.915,0.687,4.98,0.752), (4.915,0.687,5.117,0.752), (5.052,0.687,5.117,0.752), (5.052,0.687,5.117,0.752), (5.052,0.687,5.117,0.752), (5.052,0.687,5.257,0.752), (5.192,0.687,5.257,0.752), (5.192,0.687,5.31,0.752), (5.245,0.687,5.38,0.752), (5.315,0.687,5.465,0.752), (5.4,0.687,5.465,0.752), (5.4,0.687,5.602,0.752), (5.537,0.687,5.602,0.752), (5.537,0.687,5.602,0.752), (5.537,0.687,5.602,0.752), (5.537,0.687,5.74,0.752), (5.675,0.687,5.74,0.752), (5.675,0.687,5.74,0.752), (5.675,0.687,5.74,0.752), (5.675,0.687,5.932,0.752), (5.867,0.687,5.932,0.752), (5.867,0.687,6.012,0.752), (5.947,0.687,6.012,0.752), (5.947,0.687,6.07,0.752), (6.005,0.687,6.14,0.752), (6.397,0.687,6.462,0.752), (6.962,0.687,7.027,0.752), (3.952,0.692,4.017,0.757), (7.642,0.86,7.707,0.925), (7.642,0.86,7.707,0.925), (7.642,0.86,7.717,0.925), (7.642,0.86,7.707,0.985), (7.652,0.86,7.717,0.925), (7.455,0.92,7.52,1.195), (7.64,0.92,7.707,1.195), (7.642,0.957,7.707,1.022), (7.04,1.057,7.175,1.262), (6.695,1.06,6.76,1.195), (6.695,1.13,6.76,1.35), (7.455,1.13,7.52,1.35), (7.11,1.197,7.175,1.35), (0,1.285,7.75,1.4)])
R(complex109, boundary, [(0,0,7.75,1.4)])
complex109.add(gdstk.Label('A', (6.995,0.72), layer=11, texttype=0))
complex109.add(gdstk.Label('B', (3.77,0.72), layer=11, texttype=0))
complex109.add(gdstk.Label('C', (2.115,0.72), layer=11, texttype=0))
complex109.add(gdstk.Label('D', (0.185,0.585), layer=11, texttype=0))
complex109.add(gdstk.Label('E', (1.84,0.72), layer=11, texttype=0))
complex109.add(gdstk.Label('F', (4.74,0.72), layer=11, texttype=0))
complex109.add(gdstk.Label('G', (6.43,0.72), layer=11, texttype=0))
complex109.add(gdstk.Label('H', (3.985,0.725), layer=11, texttype=0))
complex109.add(gdstk.Label('Y', (7.675,0.99), layer=11, texttype=0))
complex109.add(gdstk.Label('VCC', (0,1.4), layer=11, texttype=0))
complex109.add(gdstk.Label('GND', (0,0), layer=11, texttype=0))

lib.write_gds('COMPLEX109.gds')
